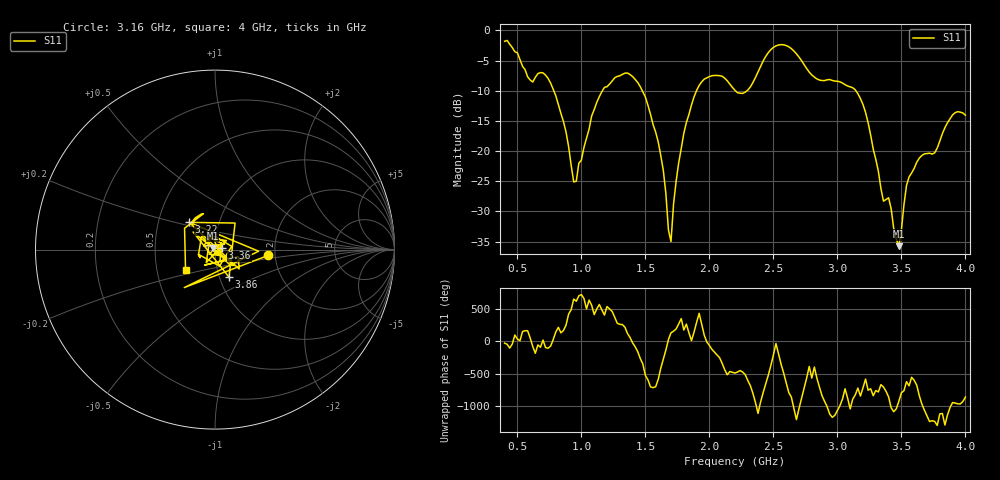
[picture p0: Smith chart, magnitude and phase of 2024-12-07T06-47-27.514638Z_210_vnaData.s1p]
!Created with skrf (http://scikit-rf.org).
# Hz S RI R 50.0
!freq ReS11 ImS11
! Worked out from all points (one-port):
!   181 points, 400 MHz to 4 GHz, reference 50 ohm
!   lowest |S11| = -35.8 dB at 3.48 GHz (marker M1), VSWR 1.03, Z = 48.6 + j0.824 ohm
!   |S11| at or under -10 dB: 784.2 MHz to 1.164 GHz (379.6 MHz wide, 39 % of centre); 1.476 GHz to 1.899 GHz (422.9 MHz wide, 25.1 % of centre); 3.145 GHz to end of sweep (the widest 3 of 4)
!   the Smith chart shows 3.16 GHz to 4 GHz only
!   S11 on the Smith chart (normalised r, x): 3.16 GHz: 1.84, -0.13; 3.22 GHz: 0.72, +0.23; 3.36 GHz: 1.08, +0.01; 3.86 GHz: 1.11, -0.35; 4 GHz: 0.70, -0.16
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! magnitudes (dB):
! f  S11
! 400 MHz  -1.8
! 600 MHz  -8.2
! 740 MHz  -8.0
! 860 MHz  -15.1
! 940 MHz  -25.1
! 960 MHz  -25.0
! 1.12 GHz  -11.9
! 1.3 GHz  -7.5
! 1.5 GHz  -11.0
! 1.62 GHz  -20.7
! 1.7 GHz  -35.0
! 1.76 GHz  -22.0
! 1.82 GHz  -15.3
! 1.94 GHz  -8.5
! 2.2 GHz  -9.9
! 2.3 GHz  -9.9
! 2.5 GHz  -2.8
! 2.66 GHz  -3.4
! 2.84 GHz  -8.0
! 3.1 GHz  -9.4
! 3.16 GHz  -10.5
! 3.22 GHz  -13.6
! 3.36 GHz  -28.3
! 3.4 GHz  -27.7
! 3.48 GHz  -35.8
! 3.56 GHz  -24.3
! 3.86 GHz  -15.3
! 4 GHz  -14.0
